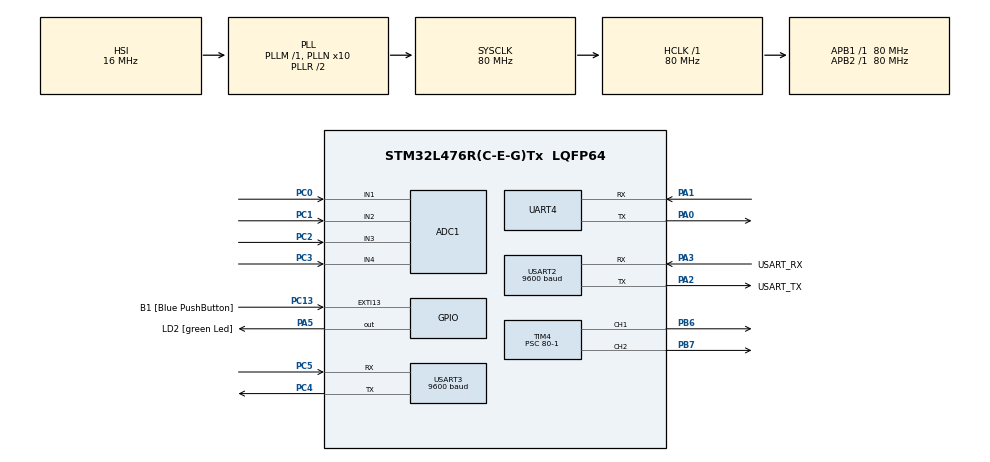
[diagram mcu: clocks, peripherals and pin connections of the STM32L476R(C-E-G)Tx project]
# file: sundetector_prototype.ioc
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ADC1.Channel-0\#ChannelRegularConversion=ADC_CHANNEL_1
ADC1.Channel-1\#ChannelRegularConversion=ADC_CHANNEL_2
ADC1.Channel-2\#ChannelRegularConversion=ADC_CHANNEL_3
ADC1.Channel-3\#ChannelRegularConversion=ADC_CHANNEL_4
ADC1.ContinuousConvMode=ENABLE
ADC1.DMAContinuousRequests=ENABLE
ADC1.NbrOfConversion=4
ADC1.NbrOfConversionFlag=1
ADC1.OffsetNumber-0\#ChannelRegularConversion=ADC_OFFSET_NONE
ADC1.OffsetNumber-1\#ChannelRegularConversion=ADC_OFFSET_NONE
ADC1.OffsetNumber-2\#ChannelRegularConversion=ADC_OFFSET_NONE
ADC1.OffsetNumber-3\#ChannelRegularConversion=ADC_OFFSET_NONE
ADC1.Rank-0\#ChannelRegularConversion=1
ADC1.Rank-1\#ChannelRegularConversion=2
ADC1.Rank-2\#ChannelRegularConversion=3
ADC1.Rank-3\#ChannelRegularConversion=4
ADC1.SamplingTime-0\#ChannelRegularConversion=ADC_SAMPLETIME_92CYCLES_5
ADC1.SamplingTime-1\#ChannelRegularConversion=ADC_SAMPLETIME_92CYCLES_5
ADC1.SamplingTime-2\#ChannelRegularConversion=ADC_SAMPLETIME_92CYCLES_5
ADC1.SamplingTime-3\#ChannelRegularConversion=ADC_SAMPLETIME_92CYCLES_5
ADC1.master=1
Dma.ADC1.0.Direction=DMA_PERIPH_TO_MEMORY
Dma.ADC1.0.Instance=DMA1_Channel1
Dma.ADC1.0.MemDataAlignment=DMA_MDATAALIGN_HALFWORD
Dma.ADC1.0.MemInc=DMA_MINC_ENABLE
Dma.ADC1.0.Mode=DMA_CIRCULAR
Dma.ADC1.0.PeriphDataAlignment=DMA_PDATAALIGN_HALFWORD
Dma.ADC1.0.PeriphInc=DMA_PINC_DISABLE
Dma.ADC1.0.Priority=DMA_PRIORITY_LOW
Dma.Request0=ADC1
Mcu.Family=STM32L4
Mcu.Name=STM32L476R(C-E-G)Tx
Mcu.Package=LQFP64
NVIC.ADC1_2_IRQn=true\:0\:0\:false\:false\:true\:true\:true
NVIC.DMA1_Channel1_IRQn=true\:0\:0\:false\:false\:true\:false\:true
NVIC.PriorityGroup=NVIC_PRIORITYGROUP_4
NVIC.TIM3_IRQn=true\:0\:0\:false\:false\:true\:true\:true
NVIC.USART2_IRQn=true\:0\:0\:false\:false\:true\:true\:false
NVIC.USART3_IRQn=true\:0\:0\:false\:false\:true\:true\:false
PA0.Mode=Asynchronous
PA0.Signal=UART4_TX
PA1.Mode=Asynchronous
PA1.Signal=UART4_RX
PA13\ (JTMS-SWDIO).GPIO_Label=TMS
PA13\ (JTMS-SWDIO).Mode=Serial_Wire
PA13\ (JTMS-SWDIO).Signal=SYS_JTMS-SWDIO
PA14\ (JTCK-SWCLK).GPIO_Label=TCK
PA14\ (JTCK-SWCLK).Mode=Serial_Wire
PA14\ (JTCK-SWCLK).Signal=SYS_JTCK-SWCLK
PA2.GPIO_Label=USART_TX
PA2.GPIO_Mode=GPIO_MODE_AF_PP
PA2.GPIO_PuPd=GPIO_NOPULL
PA2.GPIO_Speed=GPIO_SPEED_FREQ_VERY_HIGH
PA2.Mode=Asynchronous
PA2.Signal=USART2_TX
PA3.GPIO_Label=USART_RX
PA3.GPIO_Mode=GPIO_MODE_AF_PP
PA3.GPIO_PuPd=GPIO_NOPULL
PA3.GPIO_Speed=GPIO_SPEED_FREQ_VERY_HIGH
PA3.Mode=Asynchronous
PA3.Signal=USART2_RX
PA5.GPIO_Label=LD2 [green Led]
PA5.GPIO_ModeDefaultOutputPP=GPIO_MODE_OUTPUT_PP
PA5.GPIO_PuPd=GPIO_NOPULL
PA5.GPIO_Speed=GPIO_SPEED_FREQ_LOW
PA5.Signal=GPIO_Output
PB3\ (JTDO-TRACESWO).GPIO_Label=SWO
PB3\ (JTDO-TRACESWO).Signal=SYS_JTDO-SWO
PB6.Signal=S_TIM4_CH1
PB7.Signal=S_TIM4_CH2
PC0.Signal=ADCx_IN1
PC1.Signal=ADCx_IN2
PC13.GPIO_Label=B1 [Blue PushButton]
PC13.GPIO_ModeDefaultEXTI=GPIO_MODE_IT_FALLING
PC13.GPIO_PuPd=GPIO_NOPULL
PC13.Signal=GPXTI13
PC14-OSC32_IN\ (PC14).Mode=LSE-External-Oscillator
PC14-OSC32_IN\ (PC14).Signal=RCC_OSC32_IN
PC15-OSC32_OUT\ (PC15).Mode=LSE-External-Oscillator
PC15-OSC32_OUT\ (PC15).Signal=RCC_OSC32_OUT
PC2.Signal=ADCx_IN3
PC3.Signal=ADCx_IN4
PC4.Mode=Asynchronous
PC4.Signal=USART3_TX
PC5.Mode=Asynchronous
PC5.Signal=USART3_RX
PH0-OSC_IN\ (PH0).Signal=RCC_OSC_IN
PH1-OSC_OUT\ (PH1).Signal=RCC_OSC_OUT
ProjectManager.HeapSize=0x200
ProjectManager.StackSize=0x400
ProjectManager.TargetToolchain=STM32CubeIDE
RCC.ADCFreq_Value=64000000
RCC.AHBFreq_Value=80000000
RCC.APB1Freq_Value=80000000
RCC.APB1TimFreq_Value=80000000
RCC.APB2Freq_Value=80000000
RCC.APB2TimFreq_Value=80000000
RCC.CortexFreq_Value=80000000
RCC.HCLKFreq_Value=80000000
RCC.HSE_VALUE=8000000
RCC.HSI_VALUE=16000000
RCC.MSI_VALUE=4000000
RCC.PLLN=10
RCC.PLLSourceVirtual=RCC_PLLSOURCE_HSI
RCC.PREFETCH_ENABLE=1
RCC.SYSCLKFreq_VALUE=80000000
RCC.SYSCLKSource=RCC_SYSCLKSOURCE_PLLCLK
RCC.USBFreq_Value=64000000
RCC.VCOOutputFreq_Value=160000000
SH.ADCx_IN1.0=ADC1_IN1,IN1-Single-Ended
SH.ADCx_IN2.0=ADC1_IN2,IN2-Single-Ended
SH.ADCx_IN3.0=ADC1_IN3,IN3-Single-Ended
SH.ADCx_IN4.0=ADC1_IN4,IN4-Single-Ended
SH.S_TIM4_CH1.0=TIM4_CH1,PWM Generation1 CH1
SH.S_TIM4_CH2.0=TIM4_CH2,PWM Generation2 CH2
TIM3.AutoReloadPreload=TIM_AUTORELOAD_PRELOAD_ENABLE
TIM3.Period=1000-1
TIM3.Prescaler=80-1
TIM4.AutoReloadPreload=TIM_AUTORELOAD_PRELOAD_ENABLE
TIM4.Channel-PWM\ Generation1\ CH1=TIM_CHANNEL_1
TIM4.Channel-PWM\ Generation2\ CH2=TIM_CHANNEL_2
TIM4.Period=20000-1
TIM4.Prescaler=80-1
TIM4.Pulse-PWM\ Generation1\ CH1=1750
TIM4.Pulse-PWM\ Generation2\ CH2=1750
USART2.BaudRate=9600
USART2.VirtualMode-Asynchronous=VM_ASYNC
USART3.BaudRate=9600
USART3.VirtualMode-Asynchronous=VM_ASYNC
VP_TIM3_VS_ClockSourceINT.Mode=Internal
VP_TIM4_VS_ClockSourceINT.Mode=Internal
board=NUCLEO-L476RG

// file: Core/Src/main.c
/* USER CODE BEGIN Header */
/**
  ******************************************************************************
  * @file           : main.c
  * @brief          : Main program body
  ******************************************************************************
  * @attention
  *
  * <h2><center>&copy; Copyright (c) 2021 STMicroelectronics.
  * All rights reserved.</center></h2>
  *
  * This software component is licensed by ST under BSD 3-Clause license,
  * the "License"; You may not use this file except in compliance with the
  * License. You may obtain a copy of the License at:
  *                        opensource.org/licenses/BSD-3-Clause
  *
  ******************************************************************************
  */
/* USER CODE END Header */
#include "main.h"

/* USER CODE BEGIN Includes */
#include <stdio.h>
#include "cal.h"
#include "DFRobot_wifi_iot.h"
#include "DFRobot_queue.h"
/* USER CODE END Includes */

/* USER CODE BEGIN PD */
//wifi
#define WIFISSID     "woo"
#define WIFIPWS      "12345678"

#define SERVER        "iot.4irsw.com"
//#define SERVER		  "iot.dfrobot.com"
#define PORT          "1883"
#define DEVICENAME    "woo"
#define DEVICESECRET  "12345678"
#define TOPIC         "test"

/* USER CODE END PD */

ADC_HandleTypeDef hadc1;
DMA_HandleTypeDef hdma_adc1;

TIM_HandleTypeDef htim3;
TIM_HandleTypeDef htim4;

UART_HandleTypeDef huart2;
UART_HandleTypeDef huart3;

/* USER CODE BEGIN PV */
volatile uint16_t uwADCxConvertedValue[4];
uint16_t Lf_Rt_pos=1750;
uint16_t Tp_Dn_pos=1750;
uint16_t ADC_NOW_value[4];
volatile int gTimerCnt;
/* USER CODE END PV */

void SystemClock_Config(void);
static void MX_GPIO_Init(void);
static void MX_USART2_UART_Init(void);
static void MX_DMA_Init(void);
static void MX_ADC1_Init(void);
static void MX_TIM4_Init(void);
static void MX_TIM3_Init(void);
static void MX_USART3_UART_Init(void);
static void MX_UART4_Init(void);

/* USER CODE BEGIN 0 */
#ifdef __GNUC__
#define PUTCHAR_PROTOTYPE int __io_putchar(int ch)
#else
#define PUTCHAR_PROTOTYPE int fputc(int ch, FILE *f)
#endif /* __GNUC__ */

/**
  * @brief  Retargets the C library printf function to the USART.
  * @param  None
  * @retval None
  */
PUTCHAR_PROTOTYPE
{
  /* Place your implementation of fputc here */
  /* e.g. write a character to the UART2 and Loop until the end of transmission */
  if (ch == '\n')
    HAL_UART_Transmit (&huart2, (uint8_t*) "\r", 1, 0xFFFF);
  HAL_UART_Transmit (&huart2, (uint8_t*) &ch, 1, 0xFFFF);

  return ch;
}

/* USER CODE END 0 */

int main(void)
{

  /* MCU Configuration--------------------------------------------------------*/

  /* Reset of all peripherals, Initializes the Flash interface and the Systick. */
  HAL_Init();

  /* Configure the system clock */
  SystemClock_Config();

  /* Initialize all configured peripherals */
  MX_GPIO_Init();
  MX_USART2_UART_Init();
  MX_DMA_Init();
  MX_ADC1_Init();
  MX_TIM4_Init();
  MX_TIM3_Init();
  MX_USART3_UART_Init();
  MX_UART4_Init();
  /* USER CODE BEGIN 2 */
  HAL_TIM_PWM_Start(&htim4, TIM_CHANNEL_1);
  HAL_TIM_PWM_Start(&htim4, TIM_CHANNEL_2);
  __HAL_UART_ENABLE_IT(&huart2,UART_IT_RXNE);
  __HAL_UART_ENABLE_IT(&huart3,UART_IT_RXNE);

  /* USER CODE END 2 */

  /* Infinite loop */
  /* USER CODE BEGIN WHILE */
  connectWifi(WIFISSID,WIFIPWS);
  mqtt(SERVER,PORT,DEVICENAME,DEVICESECRET,TOPIC);
  //publish(TOPIC,"hello");
  //loop();
  //HAL_Delay(1000);
  //connectWifi(WIFISSID,WIFIPWS);
  //HAL_Delay(1000);
  //mqtt(SERVER,PORT,DEVICENAME,DEVICESECRET,TOPIC);
  //HAL_Delay(1000);
  //publish(TOPIC,"world");
  //loop();
  if(HAL_TIM_Base_Start_IT(&htim3)!=HAL_OK)
  {
	  Error_Handler();
  }
  //calibration_adc
  if (HAL_ADCEx_Calibration_Start (&hadc1,10) != HAL_OK)
  {
	  Error_Handler ();
  }

  //dma_adc
  if(HAL_ADC_Start_DMA(&hadc1, (uint32_t*)&uwADCxConvertedValue, 4)!=HAL_OK)
  {
	  Error_Handler ();
  }

  while (1)
  {
	  //publish(TOPIC,"HI TANG");
	  const uint8_t Add_pos = 50;
	  const uint8_t tol =10;

	  ADC_NOW_value[0] = Sensor_cal1(uwADCxConvertedValue[0]);
	  ADC_NOW_value[1] = Sensor_cal2(uwADCxConvertedValue[1]);
	  ADC_NOW_value[2] = uwADCxConvertedValue[2];
	  ADC_NOW_value[3] = uwADCxConvertedValue[3];

	  uint16_t top = Devide_by2(ADC_NOW_value[0] , ADC_NOW_value[2]);
	  uint16_t bottom = Devide_by2(ADC_NOW_value[1] , ADC_NOW_value[3]);
	  uint16_t left = Devide_by2(ADC_NOW_value[0] , ADC_NOW_value[1]);
	  uint16_t right = Devide_by2(ADC_NOW_value[2] , ADC_NOW_value[3]);

	  uint16_t ud = Apsolute_Val(top,bottom);
	  uint16_t rl = Apsolute_Val(left, right);

	  if(ud>tol)
	  {
		  if(left>right)
		  {
			  Lf_Rt_pos=Lf_Rt_pos+Add_pos;
		  }
		  else if(left<right)
		  {
			  Lf_Rt_pos=Lf_Rt_pos-Add_pos;
		  }
	  }
	  if(rl>tol)
	  {
		  if(top>bottom)
		  {
			  Tp_Dn_pos=Tp_Dn_pos-Add_pos;
		  }
		  else if(top<bottom)
		  {
			  Tp_Dn_pos=Tp_Dn_pos+Add_pos;
		  }
	  }

	  if(Lf_Rt_pos>2400)//right
	  {
		  Lf_Rt_pos=2400;
	  }
	  if(Lf_Rt_pos<1400)
	  {
		  Lf_Rt_pos=1400;
	  }
	  if(Tp_Dn_pos>2250)//up
	  {
		  Tp_Dn_pos=2250;
	  }
	  if(Tp_Dn_pos<1300)
	  {
		  Tp_Dn_pos=1300;
	  }
	  if(gTimerCnt > 3000)
		{
		    char str1[200]="\0";
		    //sprintf (str1,"Lf_Rt_pos=%4d, Tp_Dn_pos=%4d, CDS1=%4d, CDS2=%4d, CDS3=%4d, CDS4=%4d",Lf_Rt_pos,Tp_Dn_pos,ADC_NOW_value[0],ADC_NOW_value[1],ADC_NOW_value[2],ADC_NOW_value[3]);
		    uint16_t AVG = (ADC_NOW_value[0]+ADC_NOW_value[1]+ADC_NOW_value[2]+ADC_NOW_value[3])/4;
		    sprintf (str1,"{\"Lf_Rt_pos\":%4d,\"Tp_Dn_pos\":%4d,\"AVG\":%4d}",Lf_Rt_pos,Tp_Dn_pos,AVG);
		    //sprintf (str1,"{\"Lf_Rt_pos\":%4d,\"Tp_Dn_pos\":%4d}",Lf_Rt_pos,Tp_Dn_pos);
		    publish(TOPIC,str1);
			gTimerCnt = 0;

			loop();

		}
	  __HAL_TIM_SET_COMPARE(&htim4, TIM_CHANNEL_1, Lf_Rt_pos);
	  __HAL_TIM_SET_COMPARE(&htim4, TIM_CHANNEL_2, Tp_Dn_pos);
	  HAL_Delay(50);

    /* USER CODE END WHILE */

  }
}

void SystemClock_Config(void)
{
  RCC_OscInitTypeDef RCC_OscInitStruct = {0};
  RCC_ClkInitTypeDef RCC_ClkInitStruct = {0};

  /** Configure the main internal regulator output voltage
  */
  if (HAL_PWREx_ControlVoltageScaling(PWR_REGULATOR_VOLTAGE_SCALE1) != HAL_OK)
  {
    Error_Handler();
  }
  /** Initializes the RCC Oscillators according to the specified parameters
  * in the RCC_OscInitTypeDef structure.
  */
  RCC_OscInitStruct.OscillatorType = RCC_OSCILLATORTYPE_HSI;
  RCC_OscInitStruct.HSIState = RCC_HSI_ON;
  RCC_OscInitStruct.HSICalibrationValue = RCC_HSICALIBRATION_DEFAULT;
  RCC_OscInitStruct.PLL.PLLState = RCC_PLL_ON;
  RCC_OscInitStruct.PLL.PLLSource = RCC_PLLSOURCE_HSI;
  RCC_OscInitStruct.PLL.PLLM = 1;
  RCC_OscInitStruct.PLL.PLLN = 10;
  RCC_OscInitStruct.PLL.PLLP = RCC_PLLP_DIV7;
  RCC_OscInitStruct.PLL.PLLQ = RCC_PLLQ_DIV2;
  RCC_OscInitStruct.PLL.PLLR = RCC_PLLR_DIV2;
  if (HAL_RCC_OscConfig(&RCC_OscInitStruct) != HAL_OK)
  {
    Error_Handler();
  }
  /** Initializes the CPU, AHB and APB buses clocks
  */
  RCC_ClkInitStruct.ClockType = RCC_CLOCKTYPE_HCLK|RCC_CLOCKTYPE_SYSCLK
                              |RCC_CLOCKTYPE_PCLK1|RCC_CLOCKTYPE_PCLK2;
  RCC_ClkInitStruct.SYSCLKSource = RCC_SYSCLKSOURCE_PLLCLK;
  RCC_ClkInitStruct.AHBCLKDivider = RCC_SYSCLK_DIV1;
  RCC_ClkInitStruct.APB1CLKDivider = RCC_HCLK_DIV1;
  RCC_ClkInitStruct.APB2CLKDivider = RCC_HCLK_DIV1;

  if (HAL_RCC_ClockConfig(&RCC_ClkInitStruct, FLASH_LATENCY_4) != HAL_OK)
  {
    Error_Handler();
  }
}

static void MX_ADC1_Init(void)
{

  ADC_MultiModeTypeDef multimode = {0};
  ADC_ChannelConfTypeDef sConfig = {0};

  /** Common config
  */
  hadc1.Instance = ADC1;
  hadc1.Init.ClockPrescaler = ADC_CLOCK_ASYNC_DIV1;
  hadc1.Init.Resolution = ADC_RESOLUTION_12B;
  hadc1.Init.DataAlign = ADC_DATAALIGN_RIGHT;
  hadc1.Init.ScanConvMode = ADC_SCAN_ENABLE;
  hadc1.Init.EOCSelection = ADC_EOC_SINGLE_CONV;
  hadc1.Init.LowPowerAutoWait = DISABLE;
  hadc1.Init.ContinuousConvMode = ENABLE;
  hadc1.Init.NbrOfConversion = 4;
  hadc1.Init.DiscontinuousConvMode = DISABLE;
  hadc1.Init.ExternalTrigConv = ADC_SOFTWARE_START;
  hadc1.Init.ExternalTrigConvEdge = ADC_EXTERNALTRIGCONVEDGE_NONE;
  hadc1.Init.DMAContinuousRequests = ENABLE;
  hadc1.Init.Overrun = ADC_OVR_DATA_PRESERVED;
  hadc1.Init.OversamplingMode = DISABLE;
  if (HAL_ADC_Init(&hadc1) != HAL_OK)
  {
    Error_Handler();
  }
  /** Configure the ADC multi-mode
  */
  multimode.Mode = ADC_MODE_INDEPENDENT;
  if (HAL_ADCEx_MultiModeConfigChannel(&hadc1, &multimode) != HAL_OK)
  {
    Error_Handler();
  }
  /** Configure Regular Channel
  */
  sConfig.Channel = ADC_CHANNEL_1;
  sConfig.Rank = ADC_REGULAR_RANK_1;
  sConfig.SamplingTime = ADC_SAMPLETIME_92CYCLES_5;
  sConfig.SingleDiff = ADC_SINGLE_ENDED;
  sConfig.OffsetNumber = ADC_OFFSET_NONE;
  sConfig.Offset = 0;
  if (HAL_ADC_ConfigChannel(&hadc1, &sConfig) != HAL_OK)
  {
    Error_Handler();
  }
  /** Configure Regular Channel
  */
  sConfig.Channel = ADC_CHANNEL_2;
  sConfig.Rank = ADC_REGULAR_RANK_2;
  if (HAL_ADC_ConfigChannel(&hadc1, &sConfig) != HAL_OK)
  {
    Error_Handler();
  }
  /** Configure Regular Channel
  */
  sConfig.Channel = ADC_CHANNEL_3;
  sConfig.Rank = ADC_REGULAR_RANK_3;
  if (HAL_ADC_ConfigChannel(&hadc1, &sConfig) != HAL_OK)
  {
    Error_Handler();
  }
  /** Configure Regular Channel
  */
  sConfig.Channel = ADC_CHANNEL_4;
  sConfig.Rank = ADC_REGULAR_RANK_4;
  if (HAL_ADC_ConfigChannel(&hadc1, &sConfig) != HAL_OK)
  {
    Error_Handler();
  }

}

static void MX_TIM3_Init(void)
{

  TIM_ClockConfigTypeDef sClockSourceConfig = {0};
  TIM_MasterConfigTypeDef sMasterConfig = {0};

  htim3.Instance = TIM3;
  htim3.Init.Prescaler = 80-1;
  htim3.Init.CounterMode = TIM_COUNTERMODE_UP;
  htim3.Init.Period = 1000-1;
  htim3.Init.ClockDivision = TIM_CLOCKDIVISION_DIV1;
  htim3.Init.AutoReloadPreload = TIM_AUTORELOAD_PRELOAD_ENABLE;
  if (HAL_TIM_Base_Init(&htim3) != HAL_OK)
  {
    Error_Handler();
  }
  sClockSourceConfig.ClockSource = TIM_CLOCKSOURCE_INTERNAL;
  if (HAL_TIM_ConfigClockSource(&htim3, &sClockSourceConfig) != HAL_OK)
  {
    Error_Handler();
  }
  sMasterConfig.MasterOutputTrigger = TIM_TRGO_RESET;
  sMasterConfig.MasterSlaveMode = TIM_MASTERSLAVEMODE_DISABLE;
  if (HAL_TIMEx_MasterConfigSynchronization(&htim3, &sMasterConfig) != HAL_OK)
  {
    Error_Handler();
  }

}

static void MX_TIM4_Init(void)
{

  TIM_ClockConfigTypeDef sClockSourceConfig = {0};
  TIM_MasterConfigTypeDef sMasterConfig = {0};
  TIM_OC_InitTypeDef sConfigOC = {0};

  htim4.Instance = TIM4;
  htim4.Init.Prescaler = 80-1;
  htim4.Init.CounterMode = TIM_COUNTERMODE_UP;
  htim4.Init.Period = 20000-1;
  htim4.Init.ClockDivision = TIM_CLOCKDIVISION_DIV1;
  htim4.Init.AutoReloadPreload = TIM_AUTORELOAD_PRELOAD_ENABLE;
  if (HAL_TIM_Base_Init(&htim4) != HAL_OK)
  {
    Error_Handler();
  }
  sClockSourceConfig.ClockSource = TIM_CLOCKSOURCE_INTERNAL;
  if (HAL_TIM_ConfigClockSource(&htim4, &sClockSourceConfig) != HAL_OK)
  {
    Error_Handler();
  }
  if (HAL_TIM_PWM_Init(&htim4) != HAL_OK)
  {
    Error_Handler();
  }
  sMasterConfig.MasterOutputTrigger = TIM_TRGO_RESET;
  sMasterConfig.MasterSlaveMode = TIM_MASTERSLAVEMODE_DISABLE;
  if (HAL_TIMEx_MasterConfigSynchronization(&htim4, &sMasterConfig) != HAL_OK)
  {
    Error_Handler();
  }
  sConfigOC.OCMode = TIM_OCMODE_PWM1;
  sConfigOC.Pulse = 1750;
  sConfigOC.OCPolarity = TIM_OCPOLARITY_HIGH;
  sConfigOC.OCFastMode = TIM_OCFAST_DISABLE;
  if (HAL_TIM_PWM_ConfigChannel(&htim4, &sConfigOC, TIM_CHANNEL_1) != HAL_OK)
  {
    Error_Handler();
  }
  if (HAL_TIM_PWM_ConfigChannel(&htim4, &sConfigOC, TIM_CHANNEL_2) != HAL_OK)
  {
    Error_Handler();
  }
  HAL_TIM_MspPostInit(&htim4);

}

static void MX_UART4_Init(void)
{

  LL_USART_InitTypeDef UART_InitStruct = {0};

  LL_GPIO_InitTypeDef GPIO_InitStruct = {0};
  RCC_PeriphCLKInitTypeDef PeriphClkInit = {0};

  /** Initializes the peripherals clock
  */
  PeriphClkInit.PeriphClockSelection = RCC_PERIPHCLK_UART4;
  PeriphClkInit.Uart4ClockSelection = RCC_UART4CLKSOURCE_PCLK1;
  if (HAL_RCCEx_PeriphCLKConfig(&PeriphClkInit) != HAL_OK)
  {
    Error_Handler();
  }

  /* Peripheral clock enable */
  LL_APB1_GRP1_EnableClock(LL_APB1_GRP1_PERIPH_UART4);

  LL_AHB2_GRP1_EnableClock(LL_AHB2_GRP1_PERIPH_GPIOA);
  /**UART4 GPIO Configuration
  PA0   ------> UART4_TX
  PA1   ------> UART4_RX
  */
  GPIO_InitStruct.Pin = LL_GPIO_PIN_0|LL_GPIO_PIN_1;
  GPIO_InitStruct.Mode = LL_GPIO_MODE_ALTERNATE;
  GPIO_InitStruct.Speed = LL_GPIO_SPEED_FREQ_VERY_HIGH;
  GPIO_InitStruct.OutputType = LL_GPIO_OUTPUT_PUSHPULL;
  GPIO_InitStruct.Pull = LL_GPIO_PULL_NO;
  GPIO_InitStruct.Alternate = LL_GPIO_AF_8;
  LL_GPIO_Init(GPIOA, &GPIO_InitStruct);

  UART_InitStruct.BaudRate = 115200;
  UART_InitStruct.DataWidth = LL_USART_DATAWIDTH_8B;
  UART_InitStruct.StopBits = LL_USART_STOPBITS_1;
  UART_InitStruct.Parity = LL_USART_PARITY_NONE;
  UART_InitStruct.TransferDirection = LL_USART_DIRECTION_TX_RX;
  UART_InitStruct.HardwareFlowControl = LL_USART_HWCONTROL_NONE;
  UART_InitStruct.OverSampling = LL_USART_OVERSAMPLING_16;
  LL_USART_Init(UART4, &UART_InitStruct);
  LL_USART_ConfigAsyncMode(UART4);
  LL_USART_Enable(UART4);

}

static void MX_USART2_UART_Init(void)
{

  huart2.Instance = USART2;
  huart2.Init.BaudRate = 9600;
  huart2.Init.WordLength = UART_WORDLENGTH_8B;
  huart2.Init.StopBits = UART_STOPBITS_1;
  huart2.Init.Parity = UART_PARITY_NONE;
  huart2.Init.Mode = UART_MODE_TX_RX;
  huart2.Init.HwFlowCtl = UART_HWCONTROL_NONE;
  huart2.Init.OverSampling = UART_OVERSAMPLING_16;
  huart2.Init.OneBitSampling = UART_ONE_BIT_SAMPLE_DISABLE;
  huart2.AdvancedInit.AdvFeatureInit = UART_ADVFEATURE_NO_INIT;
  if (HAL_UART_Init(&huart2) != HAL_OK)
  {
    Error_Handler();
  }

}

static void MX_USART3_UART_Init(void)
{

  huart3.Instance = USART3;
  huart3.Init.BaudRate = 9600;
  huart3.Init.WordLength = UART_WORDLENGTH_8B;
  huart3.Init.StopBits = UART_STOPBITS_1;
  huart3.Init.Parity = UART_PARITY_NONE;
  huart3.Init.Mode = UART_MODE_TX_RX;
  huart3.Init.HwFlowCtl = UART_HWCONTROL_NONE;
  huart3.Init.OverSampling = UART_OVERSAMPLING_16;
  huart3.Init.OneBitSampling = UART_ONE_BIT_SAMPLE_DISABLE;
  huart3.AdvancedInit.AdvFeatureInit = UART_ADVFEATURE_NO_INIT;
  if (HAL_UART_Init(&huart3) != HAL_OK)
  {
    Error_Handler();
  }

}

static void MX_DMA_Init(void)
{

  /* DMA controller clock enable */
  __HAL_RCC_DMA1_CLK_ENABLE();

  /* DMA interrupt init */
  /* DMA1_Channel1_IRQn interrupt configuration */
  HAL_NVIC_SetPriority(DMA1_Channel1_IRQn, 0, 0);
  HAL_NVIC_EnableIRQ(DMA1_Channel1_IRQn);

}

static void MX_GPIO_Init(void)
{
  GPIO_InitTypeDef GPIO_InitStruct = {0};

  /* GPIO Ports Clock Enable */
  __HAL_RCC_GPIOC_CLK_ENABLE();
  __HAL_RCC_GPIOH_CLK_ENABLE();
  __HAL_RCC_GPIOA_CLK_ENABLE();
  __HAL_RCC_GPIOB_CLK_ENABLE();

  /*Configure GPIO pin Output Level */
  HAL_GPIO_WritePin(LD2_GPIO_Port, LD2_Pin, GPIO_PIN_RESET);

  /*Configure GPIO pin : B1_Pin */
  GPIO_InitStruct.Pin = B1_Pin;
  GPIO_InitStruct.Mode = GPIO_MODE_IT_FALLING;
  GPIO_InitStruct.Pull = GPIO_NOPULL;
  HAL_GPIO_Init(B1_GPIO_Port, &GPIO_InitStruct);

  /*Configure GPIO pin : LD2_Pin */
  GPIO_InitStruct.Pin = LD2_Pin;
  GPIO_InitStruct.Mode = GPIO_MODE_OUTPUT_PP;
  GPIO_InitStruct.Pull = GPIO_NOPULL;
  GPIO_InitStruct.Speed = GPIO_SPEED_FREQ_LOW;
  HAL_GPIO_Init(LD2_GPIO_Port, &GPIO_InitStruct);

}

/* USER CODE BEGIN 4 */
void
HAL_TIM_PeriodElapsedCallback(TIM_HandleTypeDef *htim)
{
	gTimerCnt++;

}
/* USER CODE END 4 */

void Error_Handler(void)
{
  __disable_irq();
  while (1)
  {
  }
}

/************************ (C) COPYRIGHT STMicroelectronics *****END OF FILE****/
